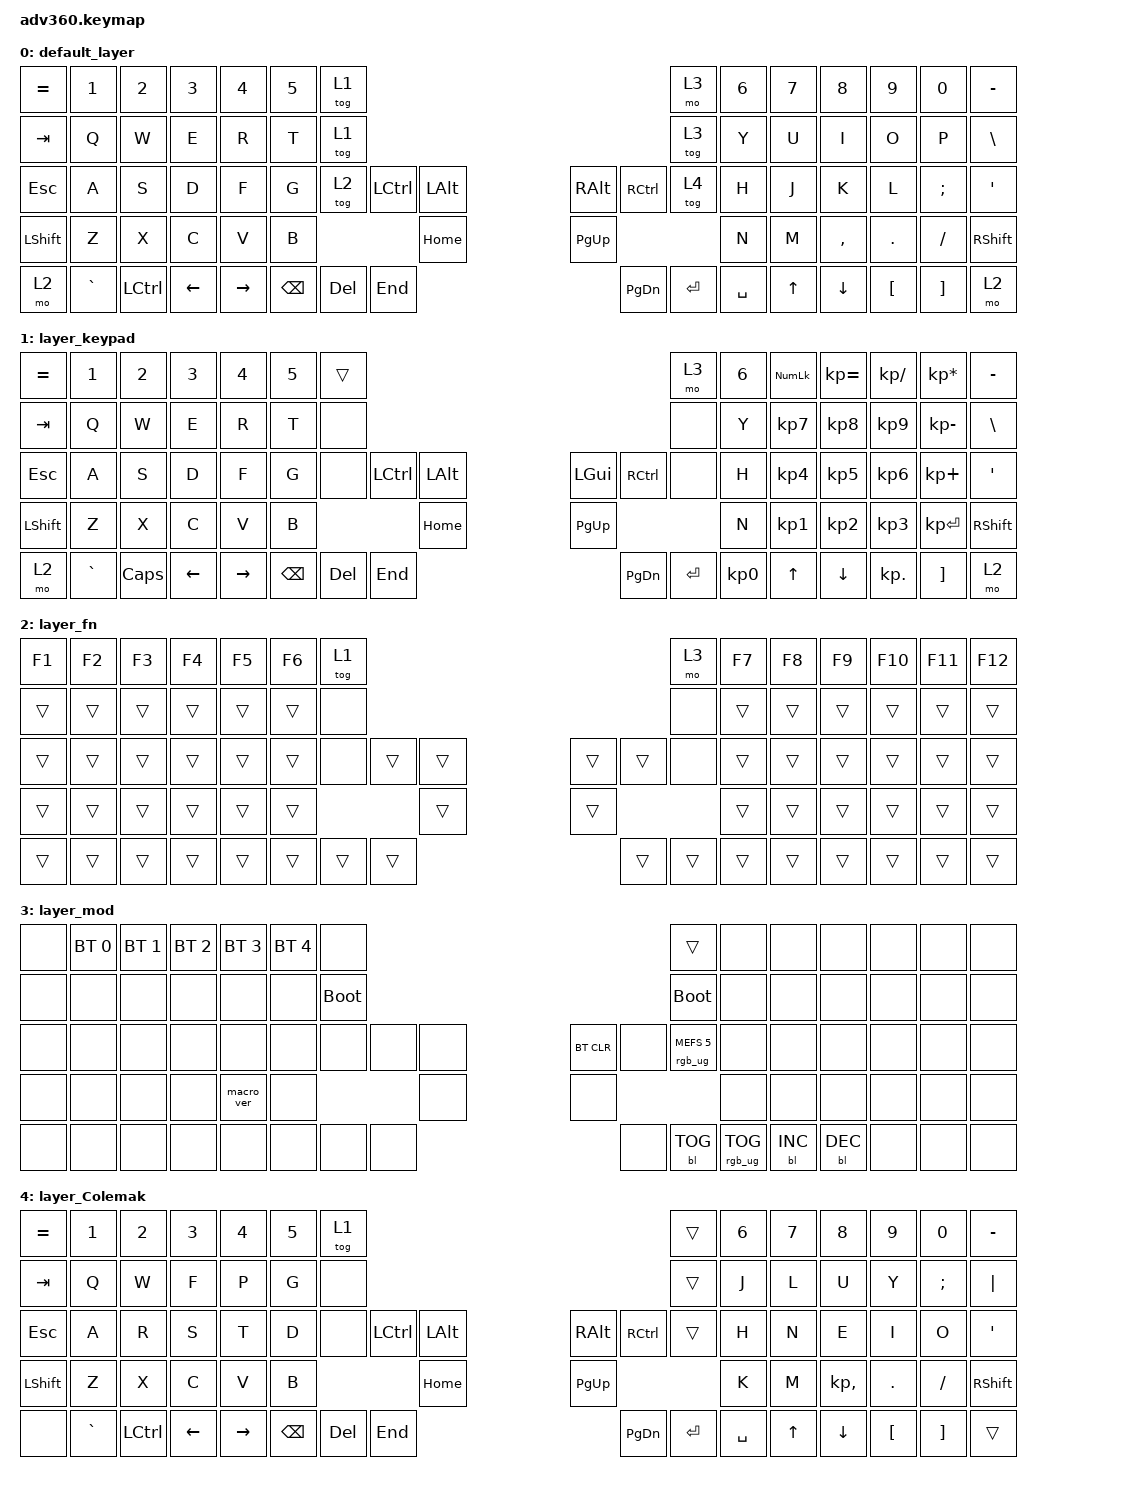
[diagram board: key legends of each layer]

/*
 * Copyright (c) 2020 The ZMK Contributors
 *
 * SPDX-License-Identifier: MIT
 */


/* THIS FILE WAS GENERATED!
 *
 * This file was generated automatically. You may or may not want to
 * edit it directly.
 */

#include <behaviors.dtsi>
#include <dt-bindings/zmk/keys.h>
#include <dt-bindings/zmk/bt.h>
#include <dt-bindings/zmk/rgb.h>
#include <dt-bindings/zmk/backlight.h>

/ {
  behaviors {
    #include "macros.dtsi"
    #include "version.dtsi"

    hm: homerow_mods {
        compatible = "zmk,behavior-hold-tap";
        label = "HOMEROW_MODS";
        #binding-cells = <2>;
        tapping-term-ms = <200>;
        quick_tap_ms = <175>;
        flavor = "tap-preferred";
        bindings = <&kp>, <&kp>;
    };
  };

    keymap {
        compatible = "zmk,keymap";


        default_layer {
            bindings = <
 &kp EQUAL     &kp N1     &kp N2    &kp N3     &kp N4  &kp N5              &tog 1                                                                     &mo 3  &kp N6  &kp N7     &kp N8    &kp N9    &kp N0  &kp MINUS
   &kp TAB      &kp Q      &kp W     &kp E      &kp R   &kp T              &tog 1                                                                    &tog 3   &kp Y   &kp U      &kp I     &kp O     &kp P   &kp BSLH
   &kp ESC      &kp A      &kp S     &kp D      &kp F   &kp G              &tog 2  &kp LCTRL  &kp LALT                  &kp RIGHT_ALT  &kp RCTRL     &tog 4   &kp H   &kp J      &kp K     &kp L  &kp SEMI    &kp SQT
 &kp LSHFT      &kp Z      &kp X     &kp C      &kp V   &kp B                                 &kp HOME                      &kp PG_UP                         &kp N   &kp M  &kp COMMA   &kp DOT  &kp FSLH  &kp RSHFT
     &mo 2  &kp GRAVE  &kp LCTRL  &kp LEFT  &kp RIGHT                    &kp BSPC    &kp DEL   &kp END                      &kp PG_DN  &kp ENTER  &kp SPACE          &kp UP   &kp DOWN  &kp LBKT  &kp RBKT      &mo 2
            >;
        };

        layer_keypad {
            bindings = <
 &kp EQUAL     &kp N1    &kp N2    &kp N3     &kp N4  &kp N5              &trans                                                                 &mo 3  &kp N6  &kp KP_NUM  &kp KP_EQUAL  &kp KP_DIVIDE  &kp KP_MULTIPLY  &kp MINUS
   &kp TAB      &kp Q     &kp W     &kp E      &kp R   &kp T               &none                                                                 &none   &kp Y   &kp KP_N7     &kp KP_N8      &kp KP_N9     &kp KP_MINUS   &kp BSLH
   &kp ESC      &kp A     &kp S     &kp D      &kp F   &kp G               &none  &kp LCTRL  &kp LALT                   &kp LGUI  &kp RCTRL      &none   &kp H   &kp KP_N4     &kp KP_N5      &kp KP_N6      &kp KP_PLUS    &kp SQT
 &kp LSHFT      &kp Z     &kp X     &kp C      &kp V   &kp B                                 &kp HOME                  &kp PG_UP                         &kp N   &kp KP_N1     &kp KP_N2      &kp KP_N3     &kp KP_ENTER  &kp RSHFT
     &mo 2  &kp GRAVE  &kp CAPS  &kp LEFT  &kp RIGHT                    &kp BSPC    &kp DEL   &kp END                  &kp PG_DN  &kp ENTER  &kp KP_N0              &kp UP      &kp DOWN     &kp KP_DOT         &kp RBKT      &mo 2
            >;
        };

        layer_fn {
            bindings = <
 &kp F1  &kp F2  &kp F3  &kp F4  &kp F5  &kp F6            &tog 1                                                   &mo 3  &kp F7  &kp F8  &kp F9  &kp F10  &kp F11  &kp F12
 &trans  &trans  &trans  &trans  &trans  &trans             &none                                                   &none  &trans  &trans  &trans   &trans   &trans   &trans
 &trans  &trans  &trans  &trans  &trans  &trans             &none  &trans  &trans                  &trans  &trans   &none  &trans  &trans  &trans   &trans   &trans   &trans
 &trans  &trans  &trans  &trans  &trans  &trans                            &trans                  &trans                  &trans  &trans  &trans   &trans   &trans   &trans
 &trans  &trans  &trans  &trans  &trans                    &trans  &trans  &trans                  &trans  &trans  &trans          &trans  &trans   &trans   &trans   &trans
            >;
        };

        layer_mod {
            bindings = <
  &none  &bt BT_SEL 0  &bt BT_SEL 1  &bt BT_SEL 2  &bt BT_SEL 3  &bt BT_SEL 4                  &none                                                                          &trans   &none       &none       &none   &none   &none   &none
  &none         &none         &none         &none         &none         &none            &bootloader                                                                     &bootloader   &none       &none       &none   &none   &none   &none
  &none         &none         &none         &none         &none         &none                  &none   &none   &none                  &bt BT_CLR       &none  &rgb_ug RGB_MEFS_CMD 5   &none       &none       &none   &none   &none   &none
  &none         &none         &none         &none    &macro_ver         &none                                  &none                       &none                                       &none       &none       &none   &none   &none   &none
  &none         &none         &none         &none         &none                                &none   &none   &none                       &none  &bl BL_TOG         &rgb_ug RGB_TOG          &bl BL_INC  &bl BL_DEC   &none   &none   &none
            >;
        };

        layer_Colemak {
            bindings = <
      &kp EQUAL  &kp NUMBER_1  &kp NUMBER_2    &kp NUMBER_3     &kp NUMBER_4  &kp NUMBER_5                   &tog 1                                                                                       &trans  &kp NUMBER_6  &kp NUMBER_7    &kp NUMBER_8  &kp NUMBER_9   &kp NUMBER_0         &kp MINUS
        &kp TAB         &kp Q         &kp W           &kp F            &kp P         &kp G                    &none                                                                                       &trans         &kp J         &kp L           &kp U         &kp Y  &kp SEMICOLON          &kp PIPE
     &kp ESCAPE         &kp A         &kp R           &kp S            &kp T         &kp D                    &none  &kp LEFT_CONTROL  &kp LEFT_ALT                       &kp RALT  &kp RIGHT_CONTROL     &trans         &kp H         &kp N           &kp E         &kp I          &kp O  &kp SINGLE_QUOTE
 &kp LEFT_SHIFT         &kp Z         &kp X           &kp C            &kp V         &kp B                                                 &kp HOME                    &kp PAGE_UP                                       &kp K         &kp M    &kp KP_COMMA    &kp PERIOD       &kp FSLH   &kp RIGHT_SHIFT
          &none         &kp `     &kp LCTRL  &kp LEFT_ARROW  &kp RIGHT_ARROW                          &kp BACKSPACE        &kp DELETE       &kp END                  &kp PAGE_DOWN          &kp ENTER  &kp SPACE                &kp UP_ARROW  &kp DOWN_ARROW      &kp LBKT       &kp RBKT            &trans
            >;
        };

    };
};
